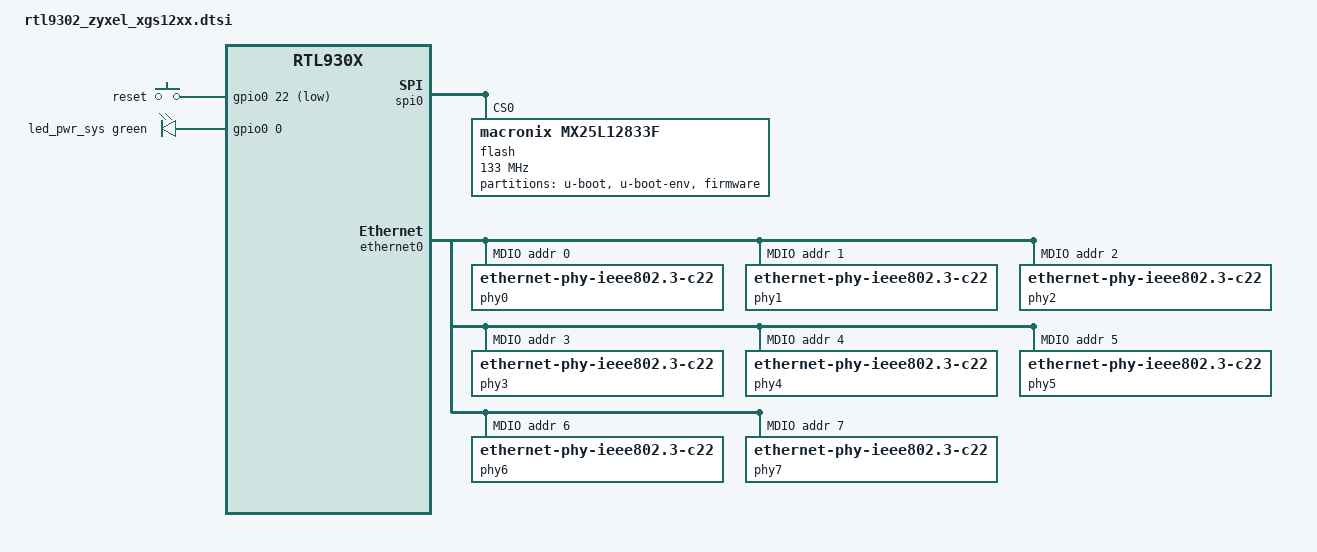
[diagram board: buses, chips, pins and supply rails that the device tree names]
// SPDX-License-Identifier: (GPL-2.0-or-later OR MIT)

#include "rtl930x.dtsi"

#include <dt-bindings/input/input.h>
#include <dt-bindings/gpio/gpio.h>
#include <dt-bindings/leds/common.h>

/ {
	aliases {
		led-boot = &led_pwr_sys;
		led-failsafe = &led_pwr_sys;
		led-running = &led_pwr_sys;
		led-upgrade = &led_pwr_sys;
	};

	chosen {
		bootargs = "console=ttyS0,115200";
	};

	keys {
		compatible = "gpio-keys";

		reset {
			label = "reset";
			gpios = <&gpio0 22 GPIO_ACTIVE_LOW>;
			linux,code = <KEY_RESTART>;
		};
	};

	leds {
		compatible = "gpio-leds";

		pinctrl-names = "default";
		pinctrl-0 = <&pinmux_disable_sys_led>;

		led_pwr_sys: led_pwr_sys {
			color = <LED_COLOR_ID_GREEN>;
			function = LED_FUNCTION_POWER;
			gpios = <&gpio0 0 GPIO_ACTIVE_HIGH>;
			panic-indicator;
		};
	};
};

&spi0 {
	status = "okay";
	flash@0 {
		compatible = "macronix,mx25l12833f", "mxicy,mx25l12833f", "jedec,spi-nor";
		reg = <0>;
		spi-max-frequency = <133000000>;

		partitions: partitions {
			compatible = "fixed-partitions";
			#address-cells = <1>;
			#size-cells = <1>;

			partition@0 {
				label = "u-boot";
				reg = <0x0 0xe0000>;
				read-only;
			};
			partition@e0000 {
				label = "u-boot-env";
				reg = <0xe0000 0x10000>;
			};
			firmware_partition: partition@f0000 {
				label = "firmware";
				reg = <0xf0000 0xf10000>;
				compatible = "openwrt,uimage", "denx,uimage";
			};
		};
	};
};

&ethernet0 {
	mdio0: mdio-bus {
		compatible = "realtek,rtl9302-mdio", "realtek,rtl838x-mdio";
		regmap = <&ethernet0>;
		#address-cells = <1>;
		#size-cells = <0>;

		/* External 8 port 10/100/1000Mbit RTL8218D PHY */
		phy0: ethernet-phy@0 {
			reg = <0>;
			compatible = "ethernet-phy-ieee802.3-c22";
			rtl9300,smi-address = <0 0>;
			sds = <2>;
			/* Disabled because we do not know how to bring up again */
			/* reset-gpios = <&gpio0 21 GPIO_ACTIVE_LOW>; */
		};
		phy1: ethernet-phy@1 {
			reg = <1>;
			compatible = "ethernet-phy-ieee802.3-c22";
			rtl9300,smi-address = <0 1>;
		};
		phy2: ethernet-phy@2 {
			reg = <2>;
			compatible = "ethernet-phy-ieee802.3-c22";
			rtl9300,smi-address = <0 2>;
		};
		phy3: ethernet-phy@3 {
			reg = <3>;
			compatible = "ethernet-phy-ieee802.3-c22";
			rtl9300,smi-address = <0 3>;
		};
		phy4: ethernet-phy@4 {
			reg = <4>;
			compatible = "ethernet-phy-ieee802.3-c22";
			rtl9300,smi-address = <0 4>;
		};
		phy5: ethernet-phy@5 {
			reg = <5>;
			compatible = "ethernet-phy-ieee802.3-c22";
			rtl9300,smi-address = <0 5>;
		};
		phy6: ethernet-phy@6 {
			reg = <6>;
			compatible = "ethernet-phy-ieee802.3-c22";
			rtl9300,smi-address = <0 6>;
		};
		phy7: ethernet-phy@7 {
			reg = <7>;
			compatible = "ethernet-phy-ieee802.3-c22";
			rtl9300,smi-address = <0 7>;
		};
	};
};

&switch0 {
	switch0_ports: ports {
		#address-cells = <1>;
		#size-cells = <0>;

		port@0 {
			reg = <0>;
			label = "lan1";
			phy-handle = <&phy0>;
			phy-mode = "xgmii";
			led-set = <0>;
		};
		port@1 {
			reg = <1>;
			label = "lan2";
			phy-handle = <&phy1>;
			phy-mode = "xgmii";
			led-set = <0>;
		};
		port@2 {
			reg = <2>;
			label = "lan3";
			phy-handle = <&phy2>;
			phy-mode = "xgmii";
			led-set = <0>;
		};
		port@3 {
			reg = <3>;
			label = "lan4";
			phy-handle = <&phy3>;
			phy-mode = "xgmii";
			led-set = <0>;
		};
		port@4 {
			reg = <4>;
			label = "lan5";
			phy-handle = <&phy4>;
			phy-mode = "xgmii";
			led-set = <0>;
		};
		port@5 {
			reg = <5>;
			label = "lan6";
			phy-handle = <&phy5>;
			phy-mode = "xgmii";
			led-set = <0>;
		};
		port@6 {
			reg = <6>;
			label = "lan7";
			phy-handle = <&phy6>;
			phy-mode = "xgmii";
			led-set = <0>;
		};
		port@7 {
			reg = <7>;
			label = "lan8";
			phy-handle = <&phy7>;
			phy-mode = "xgmii";
			led-set = <0>;
		};

		/* Internal SoC <-> Switch ethernet connection */
		port@28 {
			ethernet = <&ethernet0>;
			reg = <28>;
			phy-mode = "internal";
			fixed-link {
				speed = <10000>;
				full-duplex;
			};
		};
	};
};
